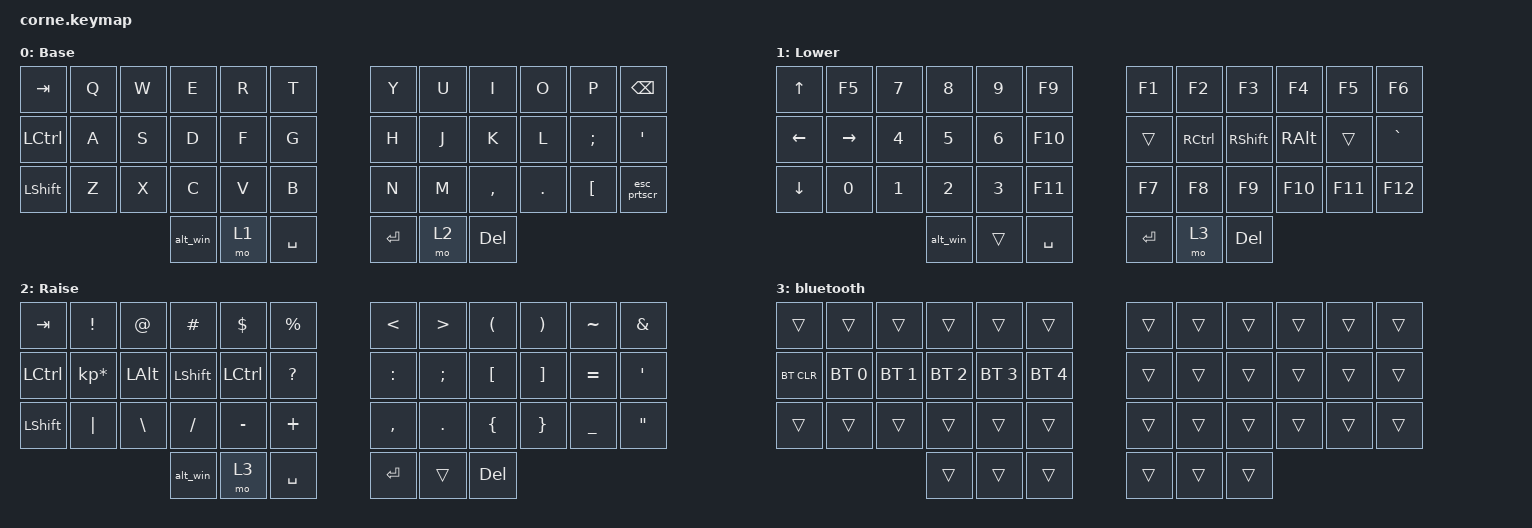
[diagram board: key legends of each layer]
/*
 * Copyright (c) 2020 The ZMK Contributors
 *
 * SPDX-License-Identifier: MIT
 */

#include <behaviors.dtsi>
#include <dt-bindings/zmk/bt.h>
#include <dt-bindings/zmk/keys.h>

/ {
    behaviors {
        alt_win: alt_win {
            compatible = "zmk,behavior-tap-dance";
            label = "ALT_WIN";
            #binding-cells = <0>;
            bindings = <&kp LEFT_ALT>, <&kp LEFT_WIN>;
        };

        holdTap: holdTap {
            compatible = "zmk,behavior-hold-tap";
            label = "HOLDTAP";
            bindings = <&kp>, <&kp>;

            #binding-cells = <2>;
            tapping-term-ms = <200>;
            flavor = "tap-preferred";
        };

        esc_prtscr: esc_prtscr {
            compatible = "zmk,behavior-tap-dance";
            label = "ESC_PRTSCR";
            #binding-cells = <0>;
            bindings = <&kp ESCAPE>, <&kp PRINTSCREEN>;
        };
    };

    combos { compatible = "zmk,combos"; };

    keymap {
        compatible = "zmk,keymap";

        default_layer {
            // -----------------------------------------------------------------------------------------
            // |  TAB |  Q  |  W  |  E  |  R  |  T  |   |  Y  |  U   |  I  |  O  |  P  | BKSP |
            // | CTRL |  A  |  S  |  D  |  F  |  G  |   |  H  |  J   |  K  |  L  |  ;  |  '   |
            // | SHFT |  Z  |  X  |  C  |  V  |  B  |   |  N  |  M   |  ,  |  .  |  /  | ESC  |
            //                    | GUI | LWR | SPC |   | ENT | RSE  | ALT |

            display-name = "Base";
            bindings = <
&kp TAB    &kp Q  &kp W  &kp E     &kp R  &kp T        &kp Y    &kp U  &kp I      &kp O    &kp P             &kp BSPC
&kp LCTRL  &kp A  &kp S  &kp D     &kp F  &kp G        &kp H    &kp J  &kp K      &kp L    &kp SEMI          &kp SQT
&kp LSHFT  &kp Z  &kp X  &kp C     &kp V  &kp B        &kp N    &kp M  &kp COMMA  &kp DOT  &kp LEFT_BRACKET  &esc_prtscr
                         &alt_win  &mo 1  &kp SPACE    &kp RET  &mo 2  &kp DEL
            >;
        };

        lower_layer {
            // -----------------------------------------------------------------------------------------
            // |  TAB |  1  |  2  |  3  |  4  |  5  |   |  6  |  7  |  8  |  9  |  0  | BKSP |
            // | BTCLR| BT1 | BT2 | BT3 | BT4 | BT5 |   | LFT | DWN |  UP | RGT |     |      |
            // | SHFT |     |     |     |     |     |   |     |     |     |     |     |      |
            //                    | GUI |     | SPC |   | ENT |     | ALT |

            display-name = "Lower";
            bindings = <
&kp UP_ARROW    &kp F5           &kp N7        &kp N8    &kp N9  &kp F9       &kp F1   &kp F2             &kp F3      &kp F4         &kp F5   &kp F6
&kp LEFT_ARROW  &kp RIGHT_ARROW  &kp N4        &kp N5    &kp N6  &kp F10      &trans   &kp RIGHT_CONTROL  &kp RSHFT   &kp RIGHT_ALT  &trans   &kp GRAVE
&kp DOWN_ARROW  &kp NUMBER_0     &kp NUMBER_1  &kp N2    &kp N3  &kp F11      &kp F7   &kp F8             &kp F9      &kp F10        &kp F11  &kp F12
                                               &alt_win  &trans  &kp SPACE    &kp RET  &mo 3              &kp DELETE
            >;
        };

        raise_layer {
            // -----------------------------------------------------------------------------------------
            // |  TAB |  !  |  @  |  #  |  $  |  %  |   |  ^  |  &  |  *  |  (  |  )  | BKSP |
            // | CTRL |     |     |     |     |     |   |  -  |  =  |  [  |  ]  |  \  |  `   |
            // | SHFT |     |     |     |     |     |   |  _  |  +  |  {  |  }  | "|" |  ~   |
            //                    | GUI |     | SPC |   | ENT |     | ALT |

            display-name = "Raise";
            bindings = <
&kp TAB    &kp EXCL         &kp AT         &kp HASH        &kp DLLR   &kp PRCNT       &kp LESS_THAN  &kp GREATER_THAN  &kp LPAR    &kp RPAR  &kp TILDE  &kp AMPERSAND
&kp LCTRL  &kp KP_MULTIPLY  &kp LEFT_ALT   &kp LEFT_SHIFT  &kp LCTRL  &kp QUESTION    &kp COLON      &kp SEMICOLON     &kp LBKT    &kp RBKT  &kp EQUAL  &kp SQT
&kp LSHFT  &kp PIPE         &kp BACKSLASH  &kp SLASH       &kp MINUS  &kp PLUS        &kp COMMA      &kp DOT           &kp LBRC    &kp RBRC  &kp UNDER  &kp DOUBLE_QUOTES
                                           &alt_win        &mo 3      &kp SPACE       &kp RET        &trans            &kp DELETE
            >;
        };

        bluetooth {
            bindings = <
&trans      &trans        &trans        &trans        &trans        &trans          &trans  &trans  &trans  &trans  &trans  &trans
&bt BT_CLR  &bt BT_SEL 0  &bt BT_SEL 1  &bt BT_SEL 2  &bt BT_SEL 3  &bt BT_SEL 4    &trans  &trans  &trans  &trans  &trans  &trans
&trans      &trans        &trans        &trans        &trans        &trans          &trans  &trans  &trans  &trans  &trans  &trans
                                        &trans        &trans        &trans          &trans  &trans  &trans
            >;
        };
    };
};
